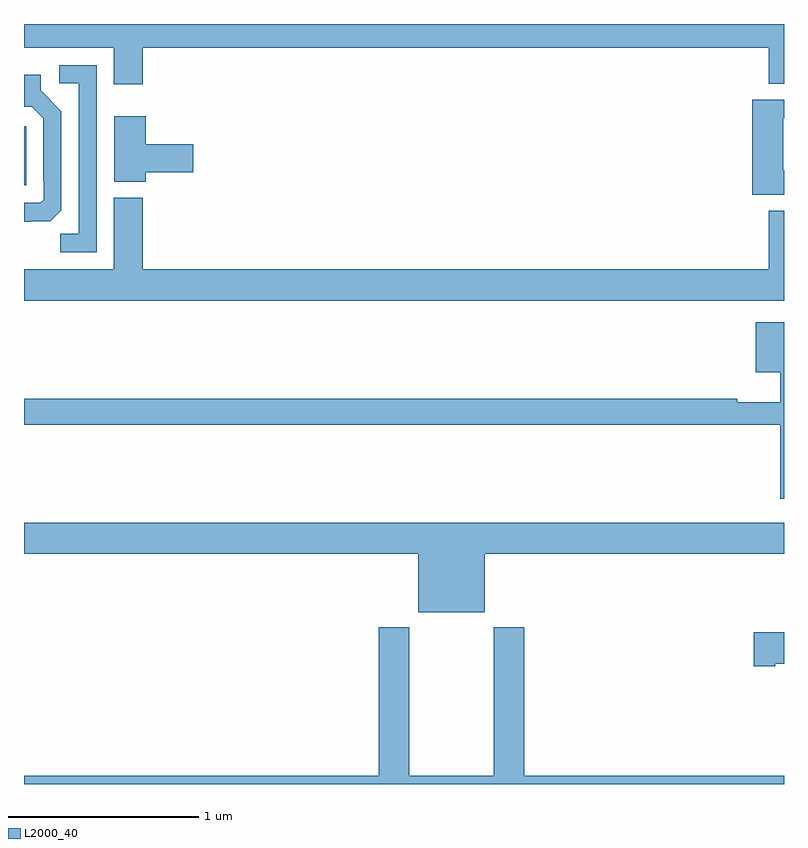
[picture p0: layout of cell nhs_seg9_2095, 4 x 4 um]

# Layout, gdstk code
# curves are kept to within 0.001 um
import gdstk
lib = gdstk.Library(unit=1e-6, precision=1e-09)
def R(c, l, rs):  # rectangles x0, y0, x1, y1
    for r in rs: c.add(gdstk.rectangle(r[:2], r[2:], *l))
def P(c, l, *ps):  # polygons
    for p in ps: c.add(gdstk.Polygon(p, *l))
L2000_40 = (2000, 40)

nhs_seg9_2095 = lib.new_cell('nhs_seg9_2095')
R(nhs_seg9_2095, L2000_40, [(229,1239.651,229.011,1239.961)])
P(nhs_seg9_2095, L2000_40, [(229.625,1240.376),(232.919,1240.376),(232.919,1240.186),(233,1240.186),(233,1240.5),(229,1240.5),(229,1240.376),(229.472,1240.376),(229.472,1240.182),(229.625,1240.182)],
  [(229.383,1240.284),(229.185,1240.284),(229.185,1240.188),(229.287,1240.188),(229.287,1239.395),(229.192,1239.395),(229.192,1239.3),(229.383,1239.3)],
  [(229.037,1239.461),(229.138,1239.461),(229.197,1239.52),(229.197,1240.042),(229.087,1240.152),(229.087,1240.234),(229,1240.234),(229,1240.065),(229.041,1240.065),(229.101,1240.005),(229.101,1239.676),(229.104,1239.676),(229.104,1239.576),(229.086,1239.558),(229,1239.558),(229,1239.46)],
  [(233,1239.73),(232.996,1239.73),(232.996,1240.005),(233,1240.005),(233,1240.101),(232.832,1240.101),(232.832,1239.602),(233,1239.602)],
  [(229.642,1239.719),(229.891,1239.719),(229.891,1239.866),(229.642,1239.866),(229.642,1240.015),(229.475,1240.015),(229.475,1239.671),(229.642,1239.671)],
  [(233,1239.517),(232.919,1239.517),(232.919,1239.208),(229.625,1239.208),(229.625,1239.586),(229.472,1239.586),(229.472,1239.208),(229,1239.208),(229,1239.044),(233,1239.044)],
  [(233,1238.929),(232.85,1238.929),(232.85,1238.666),(232.98,1238.666),(232.98,1238.509),(232.754,1238.509),(232.754,1238.528),(229,1238.528),(229,1238.392),(232.98,1238.392),(232.98,1238.001),(233,1238.001)],
  [(231.424,1237.712),(233,1237.712),(233,1237.876),(229,1237.876),(229,1237.712),(231.074,1237.712),(231.074,1237.403),(231.424,1237.403)],
  [(233,1236.544),(231.632,1236.544),(231.632,1237.324),(231.472,1237.324),(231.472,1236.544),(231.027,1236.544),(231.027,1237.324),(230.867,1237.324),(230.867,1236.544),(229,1236.544),(229,1236.5),(233,1236.5)],
  [(232.954,1237.133),(233,1237.133),(233,1237.299),(232.842,1237.299),(232.842,1237.121),(232.954,1237.121)])

lib.write_gds('nhs_seg9_2095.gds')
